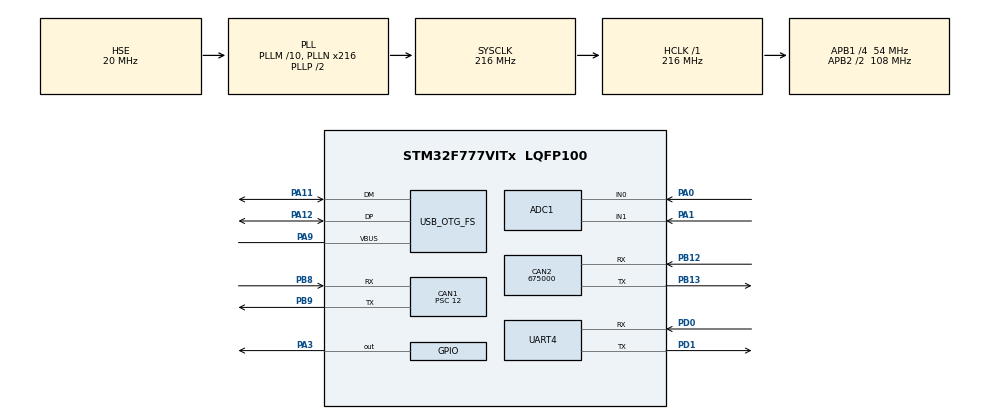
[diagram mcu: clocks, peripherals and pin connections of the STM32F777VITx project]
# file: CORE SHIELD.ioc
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ADC1.Channel-5\#ChannelRegularConversion=ADC_CHANNEL_0
ADC1.Channel-8\#ChannelRegularConversion=ADC_CHANNEL_1
ADC1.Channel-9\#ChannelRegularConversion=ADC_CHANNEL_VBAT
ADC1.ContinuousConvMode=ENABLE
ADC1.DMAContinuousRequests=ENABLE
ADC1.EOCSelection=ADC_EOC_SINGLE_CONV
ADC1.InjNumberOfConversion=0
ADC1.NbrOfConversion=3
ADC1.NbrOfConversionFlag=1
ADC1.Rank-5\#ChannelRegularConversion=1
ADC1.Rank-8\#ChannelRegularConversion=2
ADC1.Rank-9\#ChannelRegularConversion=3
ADC1.SamplingTime-5\#ChannelRegularConversion=ADC_SAMPLETIME_3CYCLES
ADC1.SamplingTime-8\#ChannelRegularConversion=ADC_SAMPLETIME_3CYCLES
ADC1.SamplingTime-9\#ChannelRegularConversion=ADC_SAMPLETIME_3CYCLES
ADC1.master=1
CAN1.BS1=CAN_BS1_5TQ
CAN1.BS2=CAN_BS2_3TQ
CAN1.CalculateBaudRate=500000
CAN1.CalculateTimeBit=2000
CAN1.CalculateTimeQuantum=222.22222222222223
CAN1.Prescaler=12
CAN2.BS2=CAN_BS2_3TQ
CAN2.CalculateBaudRate=675000
CAN2.CalculateTimeBit=1481
CAN2.CalculateTimeQuantum=296.2962962962963
Dma.ADC1.0.Direction=DMA_PERIPH_TO_MEMORY
Dma.ADC1.0.FIFOMode=DMA_FIFOMODE_DISABLE
Dma.ADC1.0.Instance=DMA2_Stream0
Dma.ADC1.0.MemDataAlignment=DMA_MDATAALIGN_HALFWORD
Dma.ADC1.0.MemInc=DMA_MINC_ENABLE
Dma.ADC1.0.Mode=DMA_CIRCULAR
Dma.ADC1.0.PeriphDataAlignment=DMA_PDATAALIGN_HALFWORD
Dma.ADC1.0.PeriphInc=DMA_PINC_DISABLE
Dma.ADC1.0.Priority=DMA_PRIORITY_LOW
Dma.Request0=ADC1
FREERTOS.Tasks01=Maquina_Estats,55,128,Maquina_estats,Default,NULL,Dynamic,NULL,NULL;CAN_TX,40,128,CAN_Transmit,Default,NULL,Dynamic,NULL,NULL;USB_TASK,24,128,usb_data,Default,NULL,Dynamic,NULL,NULL
Mcu.Family=STM32F7
Mcu.Name=STM32F777VITx
Mcu.Package=LQFP100
NVIC.ADC_IRQn=true\:5\:0\:false\:false\:true\:true\:true\:true\:true
NVIC.CAN1_RX0_IRQn=true\:5\:0\:false\:false\:true\:true\:true\:true\:true
NVIC.CAN1_RX1_IRQn=true\:5\:0\:false\:false\:true\:true\:true\:true\:true
NVIC.DMA2_Stream0_IRQn=true\:5\:0\:false\:false\:true\:true\:false\:true\:true
NVIC.OTG_FS_IRQn=true\:5\:0\:false\:false\:true\:true\:true\:true\:true
NVIC.PriorityGroup=NVIC_PRIORITYGROUP_4
NVIC.TIM6_DAC_IRQn=true\:15\:0\:false\:false\:true\:false\:false\:true\:true
NVIC.TimeBase=TIM6_DAC_IRQn
NVIC.TimeBaseIP=TIM6
NVIC.UART4_IRQn=true\:5\:0\:false\:false\:true\:true\:true\:true\:true
PA0/WKUP.Signal=ADCx_IN0
PA1.Signal=ADCx_IN1
PA11.Mode=Device_Only
PA11.Signal=USB_OTG_FS_DM
PA12.Mode=Device_Only
PA12.Signal=USB_OTG_FS_DP
PA13.Mode=Serial_Wire
PA13.Signal=SYS_JTMS-SWDIO
PA14.Mode=Serial_Wire
PA14.Signal=SYS_JTCK-SWCLK
PA3.Signal=GPIO_Output
PA9.Mode=Activate_VBUS
PA9.Signal=USB_OTG_FS_VBUS
PB12.Mode=CAN_Activate
PB12.Signal=CAN2_RX
PB13.Mode=CAN_Activate
PB13.Signal=CAN2_TX
PB8.Mode=CAN_Activate
PB8.Signal=CAN1_RX
PB9.Mode=CAN_Activate
PB9.Signal=CAN1_TX
PD0.Mode=Asynchronous
PD0.Signal=UART4_RX
PD1.Mode=Asynchronous
PD1.Signal=UART4_TX
PH0/OSC_IN.Mode=HSE-External-Oscillator
PH0/OSC_IN.Signal=RCC_OSC_IN
PH1/OSC_OUT.Mode=HSE-External-Oscillator
PH1/OSC_OUT.Signal=RCC_OSC_OUT
ProjectManager.HeapSize=0x200
ProjectManager.StackSize=0x400
ProjectManager.TargetToolchain=STM32CubeIDE
RCC.AHBFreq_Value=216000000
RCC.APB1CLKDivider=RCC_HCLK_DIV4
RCC.APB1Freq_Value=54000000
RCC.APB1TimFreq_Value=108000000
RCC.APB2CLKDivider=RCC_HCLK_DIV2
RCC.APB2Freq_Value=108000000
RCC.APB2TimFreq_Value=216000000
RCC.CortexFreq_Value=216000000
RCC.HCLKFreq_Value=216000000
RCC.HSE_VALUE=20000000
RCC.HSI_VALUE=16000000
RCC.LSE_VALUE=32768
RCC.PLLM=10
RCC.PLLN=216
RCC.PLLQ=9
RCC.SYSCLKFreq_VALUE=216000000
RCC.SYSCLKSource=RCC_SYSCLKSOURCE_PLLCLK
RCC.USBFreq_Value=48000000
RCC.VCOOutputFreq_Value=432000000
SH.ADCx_IN0.0=ADC1_IN0,IN0
SH.ADCx_IN1.0=ADC1_IN1,IN1
USB_DEVICE.CLASS_NAME_FS=CDC
USB_DEVICE.VirtualMode-CDC_FS=Cdc
USB_DEVICE.VirtualModeFS=Cdc_FS
USB_OTG_FS.VirtualMode=Device_Only
VP_ADC1_Vbat_Input.Mode=IN-Vbat
VP_FREERTOS_VS_CMSIS_V2.Mode=CMSIS_V2
VP_SYS_VS_tim6.Mode=TIM6
VP_USB_DEVICE_VS_USB_DEVICE_CDC_FS.Mode=CDC_FS
board=custom

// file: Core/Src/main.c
/* USER CODE BEGIN Header */
/**
  ******************************************************************************
  * @file           : main.c
  * @brief          : Main program body
  ******************************************************************************
  * @attention
  *
  * Copyright (c) 2023 STMicroelectronics.
  * All rights reserved.
  *
  * This software is licensed under terms that can be found in the LICENSE file
  * in the root directory of this software component.
  * If no LICENSE file comes with this software, it is provided AS-IS.
  *
  ******************************************************************************
  */
/* USER CODE END Header */
#include "main.h"
#include "cmsis_os.h"
#include "usb_device.h"

/* USER CODE BEGIN Includes */
#include "string.h"
#include "stdio.h"
#include "usbd_cdc_if.h"
/* USER CODE END Includes */

/* USER CODE BEGIN PD */
#define ADC_BUF_LEN 	3				//ADC buffer length
/* USER CODE END PD */

ADC_HandleTypeDef hadc1;
DMA_HandleTypeDef hdma_adc1;

CAN_HandleTypeDef hcan1;
CAN_HandleTypeDef hcan2;

UART_HandleTypeDef huart4;

/* Definitions for Maquina_Estats */
osThreadId_t Maquina_EstatsHandle;
const osThreadAttr_t Maquina_Estats_attributes = {
  .name = "Maquina_Estats",
  .stack_size = 128 * 4,
  .priority = (osPriority_t) osPriorityRealtime7,
};
/* Definitions for CAN_TX */
osThreadId_t CAN_TXHandle;
const osThreadAttr_t CAN_TX_attributes = {
  .name = "CAN_TX",
  .stack_size = 128 * 4,
  .priority = (osPriority_t) osPriorityHigh,
};
/* Definitions for USB_TASK */
osThreadId_t USB_TASKHandle;
const osThreadAttr_t USB_TASK_attributes = {
  .name = "USB_TASK",
  .stack_size = 128 * 4,
  .priority = (osPriority_t) osPriorityNormal,
};
/* USER CODE BEGIN PV */
//CAN variables
CAN_RxHeaderTypeDef 	RxHeader; 					//CAN Bus Transmit Header
CAN_TxHeaderTypeDef 	TxHeader; 					//CAN Bus Receive Header
uint8_t 				TxData[8];  				//CAN Bus Receive Buffer
uint8_t 				RxData[8];  				//CAN Bus Receive Buffer
CAN_FilterTypeDef 		canfil; 					//CAN Bus Filter
uint32_t 				TxMailbox; 					//CAN Bus Mail box variable.

//ADC variables
uint16_t LECTURES_ADC[ADC_BUF_LEN];					//Where the data from the ADC is located, is the name of the buffer used by the ADC
													//The number inside the claudators is the amount of channels used by the ADC
char USB_TX[10];									//Buffer where the USB data is stored to be sent
/* USER CODE END PV */

void SystemClock_Config(void);
static void MX_GPIO_Init(void);
static void MX_DMA_Init(void);
static void MX_ADC1_Init(void);
static void MX_CAN1_Init(void);
static void MX_UART4_Init(void);
static void MX_CAN2_Init(void);
void Maquina_estats(void *argument);
void CAN_Transmit(void *argument);
void usb_data(void *argument);

int main(void)
{

  /* MCU Configuration--------------------------------------------------------*/

  /* Reset of all peripherals, Initializes the Flash interface and the Systick. */
  HAL_Init();

  /* Configure the system clock */
  SystemClock_Config();

  /* Initialize all configured peripherals */
  MX_GPIO_Init();
  MX_DMA_Init();
  MX_ADC1_Init();
  MX_CAN1_Init();
  MX_UART4_Init();
  MX_CAN2_Init();
  /* USER CODE BEGIN 2 */
  HAL_ADC_Start_DMA(&hadc1, (uint32_t*)LECTURES_ADC, ADC_BUF_LEN); //ADC with DMA initialization.
  	  	  	  	  	  	  	  	  	  	  	  	  		//(&hadc1): The function uses the ADC 1
	  	  	  	  										//LECTURES_ADC: It saves all the read data in the buffer
  	  	  	  	  	  	  	  	  	  	  	  	  		//"ADC_BUF_LEN": Number of read channels by the ADC..
//Receiving filter configuration
  canfil.FilterBank = 0;								//This refers to which filter is being configured. On this case is the filter number 0
  canfil.FilterMode = CAN_FILTERMODE_IDMASK;			//FilterMode: How are we filtering the incoming messages. Only the messages that coincide with the mask and the filter are accepted
  canfil.FilterFIFOAssignment = CAN_RX_FIFO0;			//Defines at which FIFO is this filter being configured to. In this case is the FIFO 0.
  canfil.FilterIdHigh = 0x0000;							//MSB: Most Significant Bit. When it's in 0, accepts all the messages
  canfil.FilterIdLow = 0x0000;							//LSB: Least Significant Bit. When it's in 0, accepts all the messages
  canfil.FilterMaskIdHigh = 0x0000;						//Most Significant Bit of the mask. When it's in 0, accepts all the messages
  canfil.FilterMaskIdLow = 0x0000;						//Least Significant Bit of the mask. When it's in 0, accepts all the messages
  canfil.FilterScale = CAN_FILTERSCALE_32BIT;			//Defines the Filter Scale. It will use the 32 bits of the mask and the identifier
  canfil.FilterActivation = ENABLE;						//This activates the filter as it is enable
  canfil.SlaveStartFilterBank = 14;						//Indicates the first filter slave number. In this case it is the principal filter.

//CAN controller configuration
  if(HAL_CAN_ConfigFilter(&hcan1,&canfil) != HAL_OK) 	//Configures the CAN controller filter
  {
  	Error_Handler();									//If the action goes wrong, call the Error_Handler function
  }

  if (HAL_CAN_Start(&hcan1) != HAL_OK)					//Initiates the CAN controller
  {
  	Error_Handler();									//If the action goes wrong, call the Error_Handler function
  }

  if(HAL_CAN_ActivateNotification(&hcan1, CAN_IT_RX_FIFO0_MSG_PENDING | CAN_IT_TX_MAILBOX_EMPTY) != HAL_OK) //It activates the FIFO pending messages and empty mailboxes interruptions
      {
      	Error_Handler();								//If the action goes wrong, call the Error_Handler function
      }

//Transmission configuration
  TxHeader.DLC = 8; 									//Number of bites to be transmitted max- 8. DLC: Data Length Code
  TxHeader.IDE = CAN_ID_STD;							//IDE: Identifier Extension. ID_STD: Standard Identifier. Dominant(0) = 11 bit ID, Recessive(1) = 29 bit ID
  TxHeader.RTR = CAN_RTR_DATA;							//RTR: Remote Transmission Request, Dominant(0) = Data frame, Recessive (1) = Remote Frame. Type of trace
  TxHeader.StdId = 0x321;								//Standard identifier ID
  TxHeader.TransmitGlobalTime = DISABLE;				//A temporal mark in the CAN message is not added
  TxData[0] = 1;										//Sent data. The TxData is the buffer where the data is saved
  TxData[1] = 2;										//Sent data. The TxData is the buffer where the data is saved
  TxData[2] = 3;										//Sent data. The TxData is the buffer where the data is saved
  TxData[3] = 4;										//Sent data. The TxData is the buffer where the data is saved
  TxData[4] = 5;										//Sent data. The TxData is the buffer where the data is saved
  TxData[5] = 6;										//Sent data. The TxData is the buffer where the data is saved
  TxData[6] = 7;										//Sent data. The TxData is the buffer where the data is saved
  TxData[7] = 8;										//Sent data. The TxData is the buffer where the data is saved
  /* USER CODE END 2 */

  /* Init scheduler */
  osKernelInitialize();

  /* Create the thread(s) */
  /* creation of Maquina_Estats */
  Maquina_EstatsHandle = osThreadNew(Maquina_estats, NULL, &Maquina_Estats_attributes);

  /* creation of CAN_TX */
  CAN_TXHandle = osThreadNew(CAN_Transmit, NULL, &CAN_TX_attributes);

  /* creation of USB_TASK */
  USB_TASKHandle = osThreadNew(usb_data, NULL, &USB_TASK_attributes);

  /* Start scheduler */
  osKernelStart();

  /* We should never get here as control is now taken by the scheduler */
  /* Infinite loop */
  /* USER CODE BEGIN WHILE */
  while (1)												//Main while
  {
    /* USER CODE END WHILE */

    /* USER CODE BEGIN 3 */
  	  HAL_GPIO_WritePin(GPIOA, GPIO_PIN_3, GPIO_PIN_SET);
  	  HAL_Delay(100);
  	  HAL_GPIO_WritePin(GPIOA, GPIO_PIN_3, GPIO_PIN_RESET);
  	  HAL_Delay(100);
	  	  HAL_CAN_AddTxMessage(&hcan2, &TxHeader, TxData, &TxMailbox);	//Adds a message to the sending queue of the CAN controller
	  	  HAL_Delay(500);													//Freertos delay of 500ms
	  	  TxData[7] = TxData[7] + 1;									//Adds 1 to the seventh element of the TxData buffer each time the loop is repeated
	  	  HAL_Delay(1);													//Freertos delay of 1ms
	  	  HAL_GPIO_WritePin(GPIOA, GPIO_PIN_3, GPIO_PIN_SET);
	  	  HAL_Delay(100);
	  	  HAL_GPIO_WritePin(GPIOA, GPIO_PIN_3, GPIO_PIN_RESET);
	  	  HAL_Delay(100);

  }
  /* USER CODE END 3 */
}

void SystemClock_Config(void)
{
  RCC_OscInitTypeDef RCC_OscInitStruct = {0};
  RCC_ClkInitTypeDef RCC_ClkInitStruct = {0};

  /** Configure the main internal regulator output voltage
  */
  __HAL_RCC_PWR_CLK_ENABLE();
  __HAL_PWR_VOLTAGESCALING_CONFIG(PWR_REGULATOR_VOLTAGE_SCALE1);

  /** Initializes the RCC Oscillators according to the specified parameters
  * in the RCC_OscInitTypeDef structure.
  */
  RCC_OscInitStruct.OscillatorType = RCC_OSCILLATORTYPE_HSE;
  RCC_OscInitStruct.HSEState = RCC_HSE_ON;
  RCC_OscInitStruct.PLL.PLLState = RCC_PLL_ON;
  RCC_OscInitStruct.PLL.PLLSource = RCC_PLLSOURCE_HSE;
  RCC_OscInitStruct.PLL.PLLM = 10;
  RCC_OscInitStruct.PLL.PLLN = 216;
  RCC_OscInitStruct.PLL.PLLP = RCC_PLLP_DIV2;
  RCC_OscInitStruct.PLL.PLLQ = 9;
  RCC_OscInitStruct.PLL.PLLR = 2;
  if (HAL_RCC_OscConfig(&RCC_OscInitStruct) != HAL_OK)
  {
    Error_Handler();
  }

  /** Activate the Over-Drive mode
  */
  if (HAL_PWREx_EnableOverDrive() != HAL_OK)
  {
    Error_Handler();
  }

  /** Initializes the CPU, AHB and APB buses clocks
  */
  RCC_ClkInitStruct.ClockType = RCC_CLOCKTYPE_HCLK|RCC_CLOCKTYPE_SYSCLK
                              |RCC_CLOCKTYPE_PCLK1|RCC_CLOCKTYPE_PCLK2;
  RCC_ClkInitStruct.SYSCLKSource = RCC_SYSCLKSOURCE_PLLCLK;
  RCC_ClkInitStruct.AHBCLKDivider = RCC_SYSCLK_DIV1;
  RCC_ClkInitStruct.APB1CLKDivider = RCC_HCLK_DIV4;
  RCC_ClkInitStruct.APB2CLKDivider = RCC_HCLK_DIV2;

  if (HAL_RCC_ClockConfig(&RCC_ClkInitStruct, FLASH_LATENCY_7) != HAL_OK)
  {
    Error_Handler();
  }
}

static void MX_ADC1_Init(void)
{

  ADC_ChannelConfTypeDef sConfig = {0};

  /** Configure the global features of the ADC (Clock, Resolution, Data Alignment and number of conversion)
  */
  hadc1.Instance = ADC1;
  hadc1.Init.ClockPrescaler = ADC_CLOCK_SYNC_PCLK_DIV4;
  hadc1.Init.Resolution = ADC_RESOLUTION_12B;
  hadc1.Init.ScanConvMode = ADC_SCAN_ENABLE;
  hadc1.Init.ContinuousConvMode = ENABLE;
  hadc1.Init.DiscontinuousConvMode = DISABLE;
  hadc1.Init.ExternalTrigConvEdge = ADC_EXTERNALTRIGCONVEDGE_NONE;
  hadc1.Init.ExternalTrigConv = ADC_SOFTWARE_START;
  hadc1.Init.DataAlign = ADC_DATAALIGN_RIGHT;
  hadc1.Init.NbrOfConversion = 3;
  hadc1.Init.DMAContinuousRequests = ENABLE;
  hadc1.Init.EOCSelection = ADC_EOC_SINGLE_CONV;
  if (HAL_ADC_Init(&hadc1) != HAL_OK)
  {
    Error_Handler();
  }

  /** Configure for the selected ADC regular channel its corresponding rank in the sequencer and its sample time.
  */
  sConfig.Channel = ADC_CHANNEL_0;
  sConfig.Rank = ADC_REGULAR_RANK_1;
  sConfig.SamplingTime = ADC_SAMPLETIME_3CYCLES;
  if (HAL_ADC_ConfigChannel(&hadc1, &sConfig) != HAL_OK)
  {
    Error_Handler();
  }

  /** Configure for the selected ADC regular channel its corresponding rank in the sequencer and its sample time.
  */
  sConfig.Channel = ADC_CHANNEL_1;
  sConfig.Rank = ADC_REGULAR_RANK_2;
  if (HAL_ADC_ConfigChannel(&hadc1, &sConfig) != HAL_OK)
  {
    Error_Handler();
  }

  /** Configure for the selected ADC regular channel its corresponding rank in the sequencer and its sample time.
  */
  sConfig.Channel = ADC_CHANNEL_VBAT;
  sConfig.Rank = ADC_REGULAR_RANK_3;
  if (HAL_ADC_ConfigChannel(&hadc1, &sConfig) != HAL_OK)
  {
    Error_Handler();
  }

}

static void MX_CAN1_Init(void)
{

  hcan1.Instance = CAN1;
  hcan1.Init.Prescaler = 12;
  hcan1.Init.Mode = CAN_MODE_NORMAL;
  hcan1.Init.SyncJumpWidth = CAN_SJW_1TQ;
  hcan1.Init.TimeSeg1 = CAN_BS1_5TQ;
  hcan1.Init.TimeSeg2 = CAN_BS2_3TQ;
  hcan1.Init.TimeTriggeredMode = DISABLE;
  hcan1.Init.AutoBusOff = DISABLE;
  hcan1.Init.AutoWakeUp = DISABLE;
  hcan1.Init.AutoRetransmission = DISABLE;
  hcan1.Init.ReceiveFifoLocked = DISABLE;
  hcan1.Init.TransmitFifoPriority = DISABLE;
  if (HAL_CAN_Init(&hcan1) != HAL_OK)
  {
    Error_Handler();
  }

}

static void MX_CAN2_Init(void)
{

  hcan2.Instance = CAN2;
  hcan2.Init.Prescaler = 16;
  hcan2.Init.Mode = CAN_MODE_NORMAL;
  hcan2.Init.SyncJumpWidth = CAN_SJW_1TQ;
  hcan2.Init.TimeSeg1 = CAN_BS1_1TQ;
  hcan2.Init.TimeSeg2 = CAN_BS2_3TQ;
  hcan2.Init.TimeTriggeredMode = DISABLE;
  hcan2.Init.AutoBusOff = DISABLE;
  hcan2.Init.AutoWakeUp = DISABLE;
  hcan2.Init.AutoRetransmission = DISABLE;
  hcan2.Init.ReceiveFifoLocked = DISABLE;
  hcan2.Init.TransmitFifoPriority = DISABLE;
  if (HAL_CAN_Init(&hcan2) != HAL_OK)
  {
    Error_Handler();
  }

}

static void MX_UART4_Init(void)
{

  huart4.Instance = UART4;
  huart4.Init.BaudRate = 115200;
  huart4.Init.WordLength = UART_WORDLENGTH_8B;
  huart4.Init.StopBits = UART_STOPBITS_1;
  huart4.Init.Parity = UART_PARITY_NONE;
  huart4.Init.Mode = UART_MODE_TX_RX;
  huart4.Init.HwFlowCtl = UART_HWCONTROL_NONE;
  huart4.Init.OverSampling = UART_OVERSAMPLING_16;
  huart4.Init.OneBitSampling = UART_ONE_BIT_SAMPLE_DISABLE;
  huart4.AdvancedInit.AdvFeatureInit = UART_ADVFEATURE_NO_INIT;
  if (HAL_UART_Init(&huart4) != HAL_OK)
  {
    Error_Handler();
  }

}

static void MX_DMA_Init(void)
{

  /* DMA controller clock enable */
  __HAL_RCC_DMA2_CLK_ENABLE();

  /* DMA interrupt init */
  /* DMA2_Stream0_IRQn interrupt configuration */
  HAL_NVIC_SetPriority(DMA2_Stream0_IRQn, 5, 0);
  HAL_NVIC_EnableIRQ(DMA2_Stream0_IRQn);

}

static void MX_GPIO_Init(void)
{
  GPIO_InitTypeDef GPIO_InitStruct = {0};

  /* GPIO Ports Clock Enable */
  __HAL_RCC_GPIOH_CLK_ENABLE();
  __HAL_RCC_GPIOA_CLK_ENABLE();
  __HAL_RCC_GPIOB_CLK_ENABLE();
  __HAL_RCC_GPIOD_CLK_ENABLE();

  /*Configure GPIO pin Output Level */
  HAL_GPIO_WritePin(GPIOA, GPIO_PIN_3, GPIO_PIN_RESET);

  /*Configure GPIO pin : PA3 */
  GPIO_InitStruct.Pin = GPIO_PIN_3;
  GPIO_InitStruct.Mode = GPIO_MODE_OUTPUT_PP;
  GPIO_InitStruct.Pull = GPIO_NOPULL;
  GPIO_InitStruct.Speed = GPIO_SPEED_FREQ_LOW;
  HAL_GPIO_Init(GPIOA, &GPIO_InitStruct);

}

/* USER CODE BEGIN 4 */
void HAL_CAN_TxMailbox0CompleteCallback(CAN_HandleTypeDef *hcan)		//Completed CAN transmission function
{
	HAL_GPIO_TogglePin(GPIOA, GPIO_PIN_3);								//It changes the LED state
}

void HAL_CAN_RxFifo0MsgPendingCallback(CAN_HandleTypeDef *hcan)			//Received CAN function
{
	HAL_CAN_GetRxMessage(&hcan1, CAN_RX_FIFO0, &RxHeader, RxData);		//Takes the data from the CAN channel
																		//&hadc1: The function uses the ADC 1
																		//CAN_RX_FIFO0: Where the received data is located, a FIFO, specifically the FIFO 0
																		//&RxHeader: CAN Bus Transmit Header
																		//RxData: The CAN Bus Receive Buffer
	HAL_UART_Transmit(&huart4, RxData, strlen((char*)RxData), HAL_MAX_DELAY);
	HAL_GPIO_TogglePin(GPIOB, GPIO_PIN_14);								//It changes the LED state
}
void HAL_ADC_ConvCpltCallback(ADC_HandleTypeDef *hadc)					//Function called each time the ADC finished the conversions
	  	  {

	  	    sprintf(USB_TX, "%d %d %d\n", LECTURES_ADC[0], LECTURES_ADC[1],LECTURES_ADC[2]); 		//Creates an string from each read value
	  	    																						//USB_TX: Is the buffer where the read and operated data is stored
	  	    																						//%d\: Defines the type of variable, one for each saved variable
	  	    																						//"LECTURES_ADC[X]": Defines each variable, it is defined by the position in the buffer.
	  	    																						//Vbat channel works between 1.65V and 3.6V
	  	    CDC_Transmit_FS((uint8_t*)USB_TX, strlen(USB_TX));										//Sends the USB_TX buffer through USB
	  	  }
/* USER CODE END 4 */

void Maquina_estats(void *argument)
{
  /* init code for USB_DEVICE */
  MX_USB_DEVICE_Init();
  /* USER CODE BEGIN 5 */
  /* Infinite loop */
  for(;;)												//Infinite loop
  {
    osDelay(1);
  }
  /* USER CODE END 5 */
}

void CAN_Transmit(void *argument)
{
  /* USER CODE BEGIN CAN_Transmit */
  /* Infinite loop */
  for(;;)															//Infinite loop
  {

  }
  /* USER CODE END CAN_Transmit */
}

void usb_data(void *argument)
{
  /* USER CODE BEGIN usb_data */
  /* Infinite loop */
  for(;;)												//Infinite loop
  {
    osDelay(1);
  }
  /* USER CODE END usb_data */
}

void HAL_TIM_PeriodElapsedCallback(TIM_HandleTypeDef *htim)
{
  if (htim->Instance == TIM6) {
    HAL_IncTick();
  }
}

void Error_Handler(void)
{
  __disable_irq();
  while (1)
  {
  }
}
